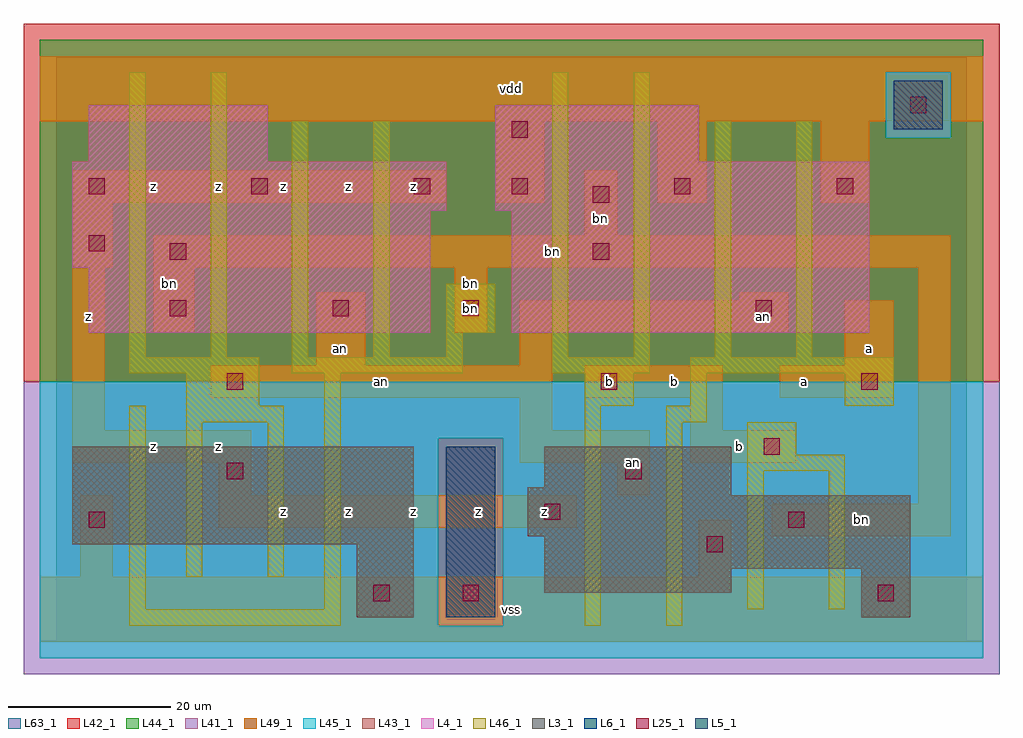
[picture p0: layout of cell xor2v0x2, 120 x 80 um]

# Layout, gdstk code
import gdstk
lib = gdstk.Library(unit=1e-6, precision=1e-09)
def R(c, l, rs):  # rectangles x0, y0, x1, y1
    for r in rs: c.add(gdstk.rectangle(r[:2], r[2:], *l))
def A(c, l, x, y, w, h, nx, ny, dx, dy):  # array of equal rectangles
    R(c, l, [(x+i*dx, y+j*dy, x+i*dx+w, y+j*dy+h) for i in range(nx) for j in range(ny)])
L3_1 = (3, 1)
L4_1 = (4, 1)
L5_1 = (5, 1)
L6_1 = (6, 1)
L25_1 = (25, 1)
L41_1 = (41, 1)
L42_1 = (42, 1)
L43_1 = (43, 1)
L44_1 = (44, 1)
L45_1 = (45, 1)
L46_1 = (46, 1)
L49_1 = (49, 1)
L63_1 = (63, 1)

xor2v0x2 = lib.new_cell('xor2v0x2')
R(xor2v0x2, L3_1, [(37,3,44,12), (99,3,105,9), (60,6,83,9), (60,9,105,13), (2,12,44,24), (58,13,105,18), (58,18,83,19), (60,19,83,24)])
R(xor2v0x2, L4_1, [(4,38,46,46), (56,38,100,53), (2,46,46,53), (2,53,48,59), (54,53,100,59), (4,59,26,66), (54,59,79,66)])
R(xor2v0x2, L5_1, [(103,63,109,69)])
R(xor2v0x2, L6_1, [(48,3,54,24), (48,3,54,24)])
A(xor2v0x2, L25_1, 4, 55, 2, 2, 3, 1, 20, 0)
A(xor2v0x2, L25_1, 56, 55, 2, 2, 3, 1, 20, 0)
R(xor2v0x2, L25_1, [(39,5,41,7), (50,5,52,7), (101,5,103,7), (80,11,82,13), (4,14,6,16), (90,14,92,16), (60,15,62,17), (21,20,23,22), (70,20,72,22), (87,23,89,25), (21,31,23,33), (67,31,69,33), (99,31,101,33), (14,40,16,42), (34,40,36,42), (50,40,52,42), (86,40,88,42), (14,47,16,49), (66,47,68,49), (4,48,6,50), (66,54,68,56), (56,62,58,64), (105,65,107,67)])
R(xor2v0x2, L41_1, [(-4,-4,116,32)])
R(xor2v0x2, L42_1, [(-4,32,116,76)])
R(xor2v0x2, L43_1, [(37,3,44,12), (48,3,54,24), (99,3,105,9), (60,6,83,9), (60,9,105,13), (2,12,44,24), (58,13,105,18), (58,18,83,19), (60,19,83,24), (4,38,46,46), (56,38,100,53), (2,46,46,53), (2,53,48,59), (54,53,100,59), (4,59,26,66), (54,59,79,66), (103,63,109,69)])
R(xor2v0x2, L44_1, [(47,2,55,25), (-2,32,114,62), (-2,62,102,70), (110,62,114,70), (-2,70,114,74)])
R(xor2v0x2, L45_1, [(-2,-2,114,2), (-2,2,47,25), (55,2,114,25), (-2,25,114,32), (102,62,110,70)])
R(xor2v0x2, L46_1, [(9,2,35,4), (65,2,67,29), (75,2,77,27), (9,4,11,29), (33,4,35,33), (85,4,87,21), (95,4,97,21), (16,8,18,27), (26,8,28,27), (85,21,97,23), (85,23,91,27), (16,27,28,29), (75,27,80,29), (16,29,25,33), (65,29,71,33), (78,29,80,33), (97,29,103,33), (9,33,25,35), (29,33,50,35), (61,33,73,35), (78,33,103,35), (9,35,11,70), (19,35,21,70), (29,35,31,64), (39,35,41,64), (48,35,50,38), (61,35,63,70), (71,35,73,70), (81,35,83,64), (91,35,93,64), (48,38,54,44)])
A(xor2v0x2, L49_1, 54, 54, 6, 10, 3, 1, 20, 0)
R(xor2v0x2, L49_1, [(-2,0,114,8), (3,8,7,18), (79,8,83,15), (88,13,110,17), (20,14,64,18), (106,17,110,46), (20,18,24,22), (69,18,73,22), (2,22,24,26), (57,22,73,26), (78,22,91,26), (2,26,6,46), (57,26,61,30), (78,26,82,30), (19,30,61,34), (65,30,82,34), (89,30,103,34), (32,34,38,43), (57,34,61,38), (97,34,103,42), (12,38,17,46), (49,38,53,46), (57,38,90,42), (84,42,90,43), (2,46,7,54), (12,46,110,50), (65,50,69,58), (2,54,48,58), (-2,64,114,72)])
R(xor2v0x2, L63_1, [(0,0,112,72)])
xor2v0x2.add(gdstk.Label('bn', (51,41), layer=49, texttype=1))
xor2v0x2.add(gdstk.Label('z', (12,24), layer=49, texttype=1))
xor2v0x2.add(gdstk.Label('z', (4,40), layer=49, texttype=1))
xor2v0x2.add(gdstk.Label('bn', (14,44), layer=49, texttype=1))
xor2v0x2.add(gdstk.Label('z', (12,56), layer=49, texttype=1))
xor2v0x2.add(gdstk.Label('z', (36,16), layer=49, texttype=1))
xor2v0x2.add(gdstk.Label('z', (28,16), layer=49, texttype=1))
xor2v0x2.add(gdstk.Label('z', (20,24), layer=49, texttype=1))
xor2v0x2.add(gdstk.Label('an', (35,36), layer=49, texttype=1))
xor2v0x2.add(gdstk.Label('z', (36,56), layer=49, texttype=1))
xor2v0x2.add(gdstk.Label('z', (28,56), layer=49, texttype=1))
xor2v0x2.add(gdstk.Label('z', (20,56), layer=49, texttype=1))
xor2v0x2.add(gdstk.Label('vss', (56,4), layer=49, texttype=1))
xor2v0x2.add(gdstk.Label('z', (60,16), layer=49, texttype=1))
xor2v0x2.add(gdstk.Label('z', (52,16), layer=49, texttype=1))
xor2v0x2.add(gdstk.Label('z', (44,16), layer=49, texttype=1))
xor2v0x2.add(gdstk.Label('an', (40,32), layer=49, texttype=1))
xor2v0x2.add(gdstk.Label('bn', (51,44), layer=49, texttype=1))
xor2v0x2.add(gdstk.Label('z', (44,56), layer=49, texttype=1))
xor2v0x2.add(gdstk.Label('vdd', (56,68), layer=49, texttype=1))
xor2v0x2.add(gdstk.Label('an', (71,22), layer=49, texttype=1))
xor2v0x2.add(gdstk.Label('b', (84,24), layer=49, texttype=1))
xor2v0x2.add(gdstk.Label('b', (76,32), layer=49, texttype=1))
xor2v0x2.add(gdstk.Label('b', (68,32), layer=49, texttype=1))
xor2v0x2.add(gdstk.Label('an', (87,40), layer=49, texttype=1))
xor2v0x2.add(gdstk.Label('bn', (67,52), layer=49, texttype=1))
xor2v0x2.add(gdstk.Label('bn', (99,15), layer=49, texttype=1))
xor2v0x2.add(gdstk.Label('a', (92,32), layer=49, texttype=1))
xor2v0x2.add(gdstk.Label('a', (100,36), layer=49, texttype=1))
xor2v0x2.add(gdstk.Label('bn', (61,48), layer=49, texttype=1))

lib.write_gds('xor2v0x2.gds')
